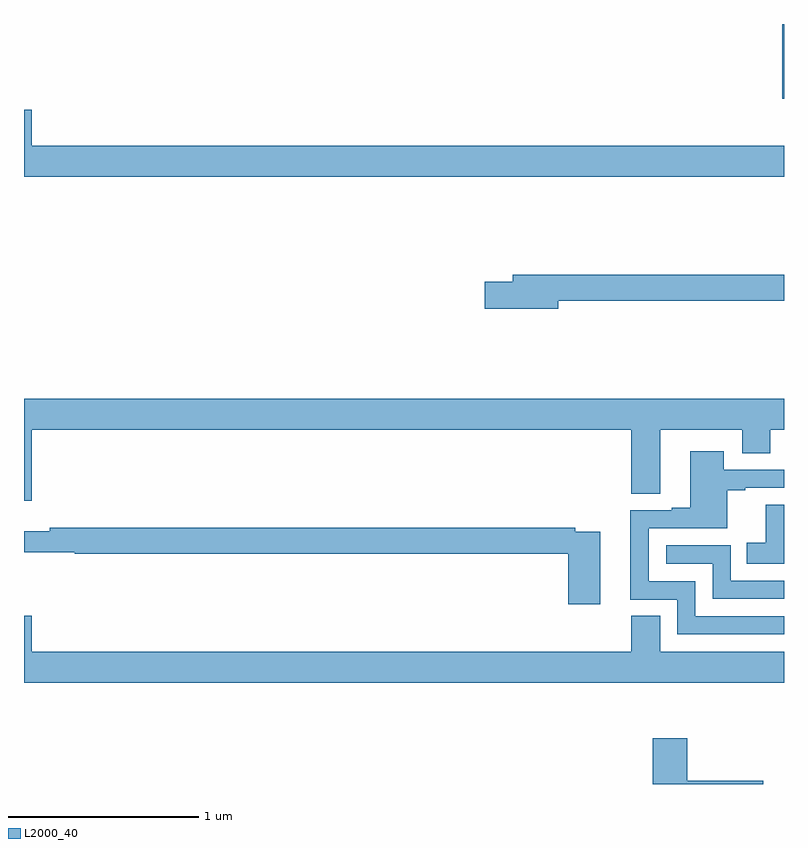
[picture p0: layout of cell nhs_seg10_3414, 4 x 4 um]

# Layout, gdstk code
import gdstk
lib = gdstk.Library(unit=1e-6, precision=1e-09)
def R(c, l, rs):  # rectangles x0, y0, x1, y1
    for r in rs: c.add(gdstk.rectangle(r[:2], r[2:], *l))
def P(c, l, *ps):  # polygons
    for p in ps: c.add(gdstk.Polygon(p, *l))
L2000_40 = (2000, 40)

nhs_seg10_3414 = lib.new_cell('nhs_seg10_3414')
R(nhs_seg10_3414, L2000_40, [(300.992,1254.106,301,1254.5)])
P(nhs_seg10_3414, L2000_40, [(301,1253.86),(297.04,1253.86),(297.04,1254.049),(297,1254.049),(297,1253.696),(301,1253.696)],
  [(299.812,1253.044),(301,1253.044),(301,1253.18),(299.573,1253.18),(299.573,1253.144),(299.424,1253.144),(299.424,1253.002),(299.812,1253.002)],
  [(297.04,1252.364),(300.197,1252.364),(300.197,1252.027),(300.349,1252.027),(300.349,1252.364),(300.779,1252.364),(300.779,1252.24),(300.927,1252.24),(300.927,1252.364),(301,1252.364),(301,1252.528),(297,1252.528),(297,1251.99),(297.04,1251.99)],
  [(301,1251.384),(300.534,1251.384),(300.534,1251.567),(300.288,1251.567),(300.288,1251.846),(300.7,1251.846),(300.7,1252.047),(300.796,1252.047),(300.796,1252.059),(301,1252.059),(301,1252.155),(300.682,1252.155),(300.682,1252.252),(300.506,1252.252),(300.506,1251.955),(300.41,1251.955),(300.41,1251.942),(300.191,1251.942),(300.191,1251.471),(300.438,1251.471),(300.438,1251.288),(301,1251.288)],
  [(301,1251.969),(300.905,1251.969),(300.905,1251.769),(300.805,1251.769),(300.805,1251.66),(301,1251.66)],
  [(300.034,1251.828),(299.9,1251.828),(299.9,1251.848),(297.136,1251.848),(297.136,1251.829),(297,1251.829),(297,1251.72),(297.268,1251.72),(297.268,1251.712),(299.864,1251.712),(299.864,1251.447),(300.034,1251.447)],
  [(301,1251.57),(300.72,1251.57),(300.72,1251.756),(300.381,1251.756),(300.381,1251.66),(300.624,1251.66),(300.624,1251.474),(301,1251.474)],
  [(301,1251.196),(300.349,1251.196),(300.349,1251.386),(300.197,1251.386),(300.197,1251.196),(297.04,1251.196),(297.04,1251.385),(297,1251.385),(297,1251.032),(301,1251.032)],
  [(300.892,1250.516),(300.491,1250.516),(300.491,1250.74),(300.308,1250.74),(300.308,1250.5),(300.892,1250.5)])

lib.write_gds('nhs_seg10_3414.gds')
